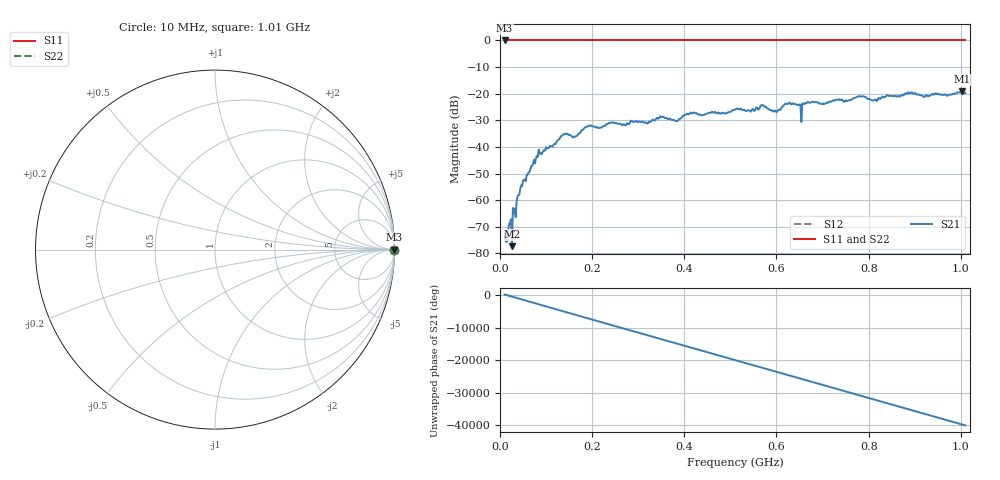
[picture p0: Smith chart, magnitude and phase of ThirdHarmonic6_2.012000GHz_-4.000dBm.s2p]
! 8/17/2025 12:09:29 AM
! C:\ANRITSUVNA\TEMP\TEMP.S2P
! CHANNEL.1
! TR.MEASUREMENT
! RAW.DATA
! RF.CORRECTION.OFF
! AVERAGING.OFF
! IF.BANDWIDTH: 5KHZ
! SWEEPTYPE:  FREQ.SWEEP(Linear)
! Reference Plane Port Info
! PORT:  PORT1  PORT2
! DISTANCE:  0  m  0  m
! TIME:  0  s  0  s
! PHASE.OFFSET:  0  deg.  0  deg.
! LOSS:  0  dB  0  dB
! REF.LOSS:  0  dB  0  dB
! REF.FREQ:  0  Hz  0  Hz
! Power Info
! POWER:  -20  dBm  -20  dBm
! EFF.POWER:  -20  dBm  -20  dBm
! SOURCE.ATTEN:  0  dB  0  dB
! TEST.ATTEN:  0  dB  0  dB
# GHZ S RI R 50.0
! FREQ.GHZ  S11RE  S11IM  S21RE  S21IM  S12RE  S12IM  S22RE  S22IM
!; PortSelection: Port_12
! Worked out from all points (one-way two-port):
!   501 points, 10 MHz to 1.01 GHz, reference 50 ohm
!   highest |S21| = -19.05 dB at 1.002 GHz (marker M1); lowest = -77.3 dB at 26 MHz (marker M2)
!   lowest |S11| = 0.0 dB at 10 MHz (marker M3)
!   |S11| at or under -10 dB: nowhere
!   |S22| runs from 0.0 to 0.0 dB; largest |S21 - S12| = 1.1
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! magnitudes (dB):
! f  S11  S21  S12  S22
! 10 MHz  0.0  -72.8  0.0  0.0
! 14 MHz  0.0  -75.7  0.0  0.0
! 26 MHz  0.0  -77.3  0.0  0.0
! 30 MHz  0.0  -64.6  0.0  0.0
! 32 MHz  0.0  -63.2  0.0  0.0
! 48 MHz  0.0  -54.7  0.0  0.0
! 82 MHz  0.0  -43.7  0.0  0.0
! 136 MHz  0.0  -35.7  0.0  0.0
! 162 MHz  0.0  -36.2  0.0  0.0
! 178 MHz  0.0  -33.6  0.0  0.0
! 344 MHz  0.0  -29.4  0.0  0.0
! 382 MHz  0.0  -30.3  0.0  0.0
! 416 MHz  0.0  -27.4  0.0  0.0
! 510 MHz  0.0  -26.0  0.0  0.0
! 570 MHz  0.0  -24.3  0.0  0.0
! 598 MHz  0.0  -26.5  0.0  0.0
! 624 MHz  0.0  -23.9  0.0  0.0
! 650 MHz  0.0  -24.0  0.0  0.0
! 678 MHz  0.0  -23.0  0.0  0.0
! 844 MHz  0.0  -20.8  0.0  0.0
! 1.002 GHz  0.0  -19.0  0.0  0.0
! 1.01 GHz  0.0  -19.7  0.0  0.0
